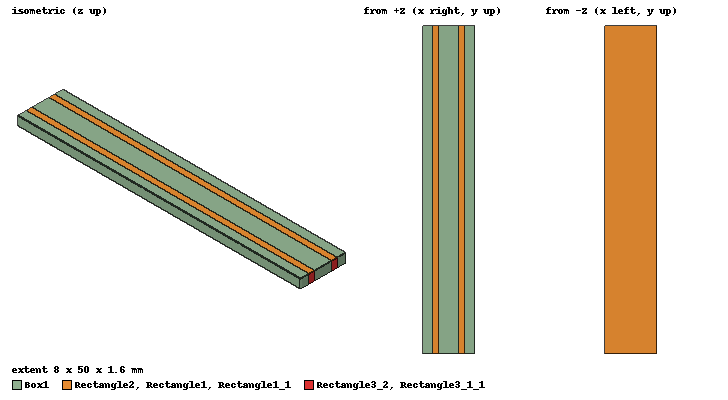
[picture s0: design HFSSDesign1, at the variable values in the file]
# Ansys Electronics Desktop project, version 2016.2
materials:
  vacuum: permittivity=1
  FR4_epoxy: permittivity=4.4 dielectric_loss_tangent=0.02

design HFSSDesign1 (HFSS, DrivenTerminal, model units mm)
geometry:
  Box1 [FR4_epoxy] = box(corner=(-4mm, -25mm, 0mm), size=(8mm, 50mm, 1.6mm))
  Rectangle1 = rectangle(corner=(-4mm, -25mm, 1.6mm), x_size=1mm, y_size=50mm)
  Rectangle1_1 = Rectangle1.duplicate_along_line(step=(4mm, 0mm, 0mm), total=2)
  [Rectangle1, Rectangle1_1].move(1.5mm, 0mm, 0mm)
  Rectangle2 = rectangle(corner=(-4mm, -25mm, 0mm), x_size=8mm, y_size=50mm)
  Rectangle3 = rectangle(corner=(-2.5mm, -25mm, 1.6mm), z_size=-1.6mm, x_size=1mm)
  Rectangle3_1 = Rectangle3.duplicate_along_line(step=(4mm, 0mm, 0mm), total=2)
  Rectangle3_2 = Rectangle3.duplicate_along_line(step=(0mm, 50mm, 0mm), total=2)
  Rectangle3_1_1 = Rectangle3_1.duplicate_along_line(step=(0mm, 50mm, 0mm), total=2)
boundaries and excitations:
  PerfE1: Perfect E Objects=Rectangle1
  PerfE2: Perfect E Objects=Rectangle1_1
  PerfE3: Perfect E Objects=Rectangle2
  P1: Terminal port=1 Edges=Rectangle1.edge(y at corner) TerminalResistance=50ohm
  P2: Terminal port=2 Edges=Rectangle1.edge(y opposite corner) TerminalResistance=50ohm
  P3: Terminal port=3 Edges=Rectangle1_1.edge(1 of 4) TerminalResistance=50ohm
  P4: Terminal port=4 Edges=Rectangle1_1.edge(3 of 4) TerminalResistance=50ohm
  1: Lumped Port Faces=Rectangle3.face(at (-2, -25, 0.8)) FullResistance=50ohm FullReactance=0ohm
  2: Lumped Port Faces=Rectangle3_2.face FullResistance=50ohm FullReactance=0ohm
  3: Lumped Port Faces=Rectangle3_1.face FullResistance=50ohm FullReactance=0ohm
  4: Lumped Port Faces=Rectangle3_1_1.face FullResistance=50ohm FullReactance=0ohm
  reference conductors: Rectangle2
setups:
  Setup1: HfssDriven Frequency=10GHz MaxDeltaS=0.02 MaximumPasses=6 MinimumPasses=1 MinimumConvergedPasses=1 PercentRefinement=30 BasisOrder=1 PortAccuracy=2
    sweep Sweep: 0.1GHz to 10GHz step 0.1GHz; Type=Interpolating InterpTolerance=0.5 InterpMaxSolns=250 PassivityErrorTolerance=0.0001
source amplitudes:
  1:1: 1V 0deg
  2:1, 3:1, 4:1: 0V 0deg
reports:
  XY Plot 1: dB(St(P1,P3)), dB(St(P1,P4)) vs Freq on Setup1 : Sweep; markers m1 at 10GHz, m2 at 10GHz
